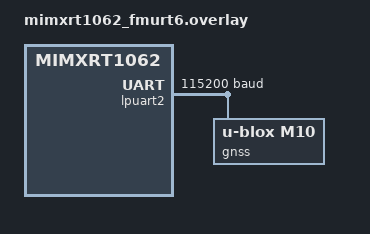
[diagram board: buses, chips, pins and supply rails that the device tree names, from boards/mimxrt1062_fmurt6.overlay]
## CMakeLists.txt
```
# Copyright (c) 2023 Trackunit Corporation
# SPDX-License-Identifier: Apache-2.0

cmake_minimum_required(VERSION 3.20.0)
find_package(Zephyr REQUIRED HINTS $ENV{ZEPHYR_BASE})
project(gnss_sample)

target_sources(app PRIVATE src/main.c)
```

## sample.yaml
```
# Copyright (c) 2023 Trackunit Corporation
# SPDX-License-Identifier: Apache-2.0

sample:
  name: GNSS sample
tests:
  sample.drivers.gnss:
    tags:
      - drivers
      - gnss
    filter: dt_alias_exists("gnss")
    depends_on: gnss
```

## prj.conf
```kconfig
# Copyright (c) 2023 Trackunit Corporation
# SPDX-License-Identifier: Apache-2.0

CONFIG_GNSS=y
CONFIG_GNSS_SATELLITES=y

CONFIG_LOG=y
CONFIG_LOG_BUFFER_SIZE=8192
CONFIG_GNSS_DUMP_TO_LOG=y
CONFIG_GNSS_DUMP_TO_LOG_BUF_SIZE=1024
CONFIG_GNSS_LOG_LEVEL_DBG=y
CONFIG_MODEM_MODULES_LOG_LEVEL_DBG=y
```

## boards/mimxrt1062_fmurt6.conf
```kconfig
# Copyright 2024 NXP
# SPDX-License-Identifier: Apache-2.0

CONFIG_UART_INTERRUPT_DRIVEN=y
```

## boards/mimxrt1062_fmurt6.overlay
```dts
/*
 * Copyright 2024 NXP
 *
 * SPDX-License-Identifier: Apache-2.0
 */

/ {
	aliases {
		gnss = &gnss;
	};
};

&lpuart2 {
	status = "okay";
	current-speed = <115200>;
	pinctrl-0 = <&pinmux_lpuart2>;
	pinctrl-1 = <&pinmux_lpuart2_sleep>;
	pinctrl-names = "default", "sleep";

	gnss: u_blox_m10 {
		status = "okay";
		compatible = "u-blox,m10";
		uart-baudrate = <115200>;
	};
};
```

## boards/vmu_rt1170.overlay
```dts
/*
 * Copyright 2024 NXP
 *
 * SPDX-License-Identifier: Apache-2.0
 */

/ {
	aliases {
		gnss = &lpuart3;
	};
};

&lpuart3 {
	status = "okay";
	current-speed = <115200>;

	u_blox_m10: u-blox,m10 {
		status = "okay";
		compatible = "u-blox,m10";
		uart-baudrate = <115200>;
	};
};
```

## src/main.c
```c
/*
 * Copyright (c) 2023 Trackunit Corporation
 *
 * SPDX-License-Identifier: Apache-2.0
 */

#include <stdio.h>
#include <zephyr/device.h>
#include <zephyr/drivers/gnss.h>
#include <zephyr/logging/log.h>

#define GNSS_MODEM DEVICE_DT_GET(DT_ALIAS(gnss))

LOG_MODULE_REGISTER(gnss_sample, CONFIG_GNSS_LOG_LEVEL);

static void gnss_data_cb(const struct device *dev, const struct gnss_data *data)
{
	if (data->info.fix_status != GNSS_FIX_STATUS_NO_FIX) {
		printf("Got a fix!\n");
	}
}
GNSS_DATA_CALLBACK_DEFINE(GNSS_MODEM, gnss_data_cb);

#if CONFIG_GNSS_SATELLITES
static void gnss_satellites_cb(const struct device *dev, const struct gnss_satellite *satellites,
			       uint16_t size)
{
	unsigned int tracked_count = 0;

	for (unsigned int i = 0; i != size; ++i) {
		tracked_count += satellites[i].is_tracked;
	}
	printf("%u satellite%s reported (of which %u tracked)!\n",
		size, size > 1 ? "s" : "", tracked_count);
}
#endif
GNSS_SATELLITES_CALLBACK_DEFINE(GNSS_MODEM, gnss_satellites_cb);

int main(void)
{
	return 0;
}
```
